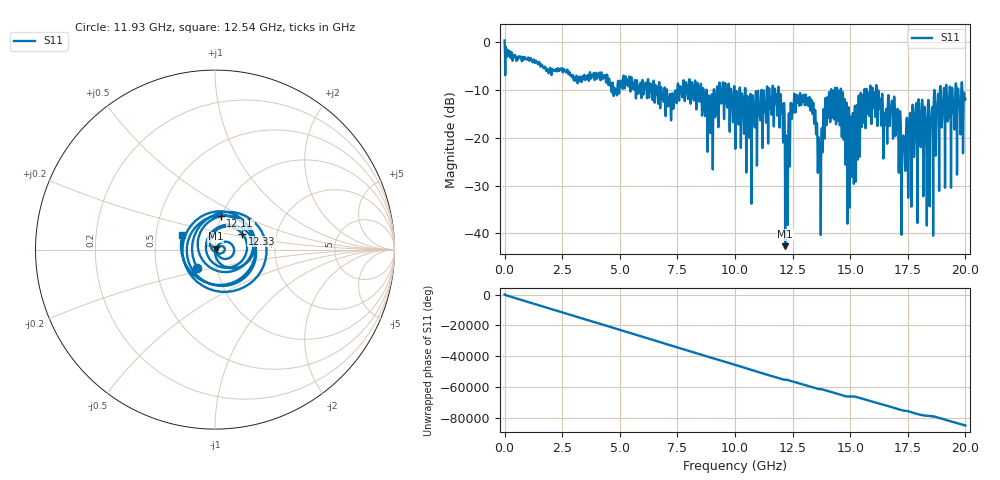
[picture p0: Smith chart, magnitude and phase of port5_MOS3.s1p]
! MS46122B
! 2250307/22442219
! 7/23/2025 1:11:07 PM
! C:\USERS\SPARKY\DOCUMENTS\VNA_DATA\JULY23_2025\295K\PORT5_MOS3.S1P
! CHANNEL.1
! TR.MEASUREMENT
! RAW.DATA
# GHZ S RI R 50.0
! FREQ.GHZ  S11RE  S11IM
!; PortSelection: Port_1
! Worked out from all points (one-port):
!   10001 points, 1 MHz to 20 GHz, reference 50 ohm
!   lowest |S11| = -42.7 dB at 12.18 GHz (marker M1), VSWR 1.01, Z = 50.5 + j0.511 ohm
!   |S11| at or under -10 dB: 11.9 GHz to 14.17 GHz (2.268 GHz wide, 17.4 % of centre); 14.6 GHz to 15.62 GHz (1.014 GHz wide, 6.71 % of centre); 16.15 GHz to 18.65 GHz (2.499 GHz wide, 14.4 % of centre) (the widest 3 of 67)
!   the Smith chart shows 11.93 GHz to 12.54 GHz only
!   S11 on the Smith chart (normalised r, x): 11.93 GHz: 0.80, -0.17; 12.11 GHz: 0.99, +0.38; 12.33 GHz: 1.33, +0.24; 12.54 GHz: 0.68, +0.12
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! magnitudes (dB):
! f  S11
! 1 MHz  0.4
! 2.501 GHz  -5.8
! 5.001 GHz  -8.4
! 7.501 GHz  -9.6
! 8.445 GHz  -12.2
! 8.965 GHz  -13.3
! 9.403 GHz  -12.8
! 10 GHz  -14.8
! 10.65 GHz  -14.4
! 11.93 GHz  -16.9
! 12.11 GHz  -14.5
! 12.18 GHz  -42.7
! 12.33 GHz  -15.1
! 12.5 GHz  -12.9
! 12.54 GHz  -14.0
! 13.31 GHz  -12.0
! 13.66 GHz  -25.0
! 13.92 GHz  -11.8
! 14.17 GHz  -9.9
! 14.6 GHz  -9.8
! 15 GHz  -17.6
! 16.05 GHz  -10.6
! 16.52 GHz  -17.3
! 16.98 GHz  -18.6
! 17.31 GHz  -19.5
! 17.5 GHz  -23.1
! 18.99 GHz  -15.5
! 20 GHz  -11.9
